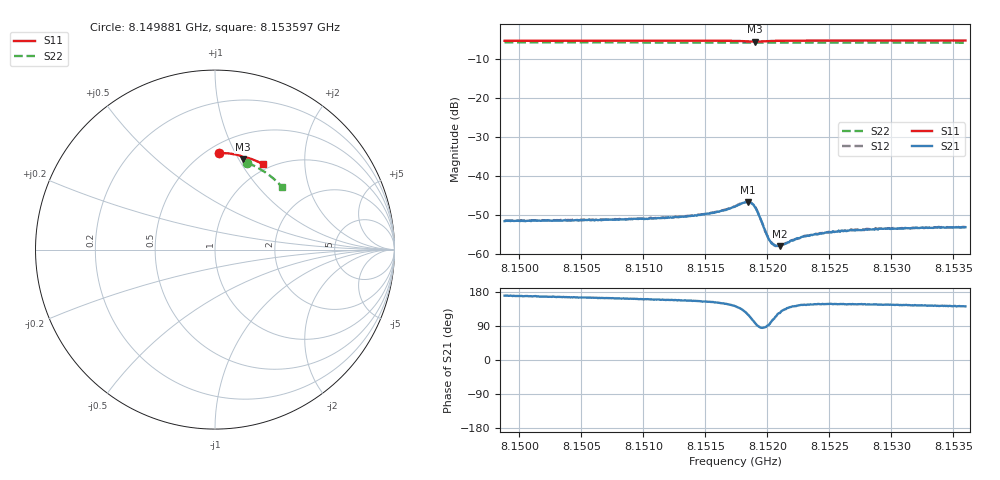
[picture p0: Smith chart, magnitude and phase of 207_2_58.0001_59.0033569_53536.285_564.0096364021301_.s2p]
#  HZ  S  RI  R  50.00
! Rohde & Schwarz Vector Network Analyzer
! Rohde-Schwarz,ZNB20-2Port,1311601062101988,3.16
! Created: UTC 3/21/2024, 12:59:35 AM
! freq[Hz]  re:S11  im:S11  re:S21  im:S21  re:S12  im:S12  re:S22  im:S22
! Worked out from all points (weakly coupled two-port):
!   401 points, 8.149881 GHz to 8.153597 GHz, reference 50 ohm
!   highest |S21| = -46.67 dB at 8.151841 GHz (marker M1); lowest = -58.0 dB at 8.152101 GHz (marker M2)
!   lowest |S11| = -5.6 dB at 8.151897 GHz (marker M3), VSWR 3.23, Z = 37.3 + j52 ohm
!   |S11| at or under -10 dB: nowhere
!   |S22| runs from -5.8 to -5.7 dB; largest |S21 - S12| = 0.00012
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8.1498809e9  0.0223 0.5395  -0.00259 0.00047  -0.00264 0.000496  0.1786 0.484
8.1505033e9  0.066 0.537  -0.0026 0.000695  -0.00266 0.000755  0.2154 0.4679
8.1511257e9  0.1094 0.5307  -0.0027 0.001  -0.00268 0.00103  0.2509 0.4489
8.1513393e9  0.1247 0.5275  -0.00277 0.00117  -0.0028 0.00123  0.2627 0.4419
8.1515158e9  0.1377 0.524  -0.00294 0.00144  -0.00293 0.00151  0.2723 0.4357
8.1516552e9  0.1484 0.52  -0.0031 0.00191  -0.00312 0.00194  0.2797 0.4307
8.1517388e9  0.1551 0.516  -0.0032 0.00248  -0.00319 0.00252  0.2841 0.4275
8.1518038e9  0.1591 0.5105  -0.00297 0.0034  -0.0029 0.00344  0.2877 0.4251
8.151841e9  0.1594 0.5065  -0.00234 0.004  -0.00231 0.00402  0.2893 0.4236
8.1518688e9  0.1576 0.504  -0.00155 0.0042  -0.00149 0.00427  0.2906 0.4226
8.1518967e9  0.1549 0.5036  -0.000642 0.00399  -0.000593 0.00405  0.2917 0.4214
8.1519246e9  0.153 0.5056  2.31e-05 0.00334  5.46e-05 0.00339  0.2933 0.4207
8.1519896e9  0.1557 0.5117  8.42e-05 0.00184  0.000107 0.00186  0.2967 0.4184
8.1520175e9  0.1583 0.513  -0.000118 0.00149  -0.000134 0.0015  0.2981 0.4175
8.1520546e9  0.1617 0.514  -0.000416 0.00122  -0.00041 0.00124  0.3 0.4162
8.1521011e9  0.1662 0.514  -0.0007 0.00104  -0.000716 0.00108  0.3025 0.4144
8.152259e9  0.1793 0.512  -0.00129 0.000923  -0.00129 0.000964  0.3106 0.4081
8.1523612e9  0.1868 0.5099  -0.00145 0.000964  -0.00147 0.000988  0.3159 0.4039
8.1524819e9  0.1955 0.5073  -0.0016 0.00102  -0.00159 0.001  0.3216 0.399
8.1526584e9  0.2074 0.503  -0.00167 0.00107  -0.00168 0.00109  0.3304 0.3917
8.1529836e9  0.2288 0.4944  -0.00173 0.00118  -0.00175 0.00123  0.3456 0.3777
8.1535967e9  0.2672 0.4757  -0.00172 0.00136  -0.00173 0.00137  0.3728 0.3497
